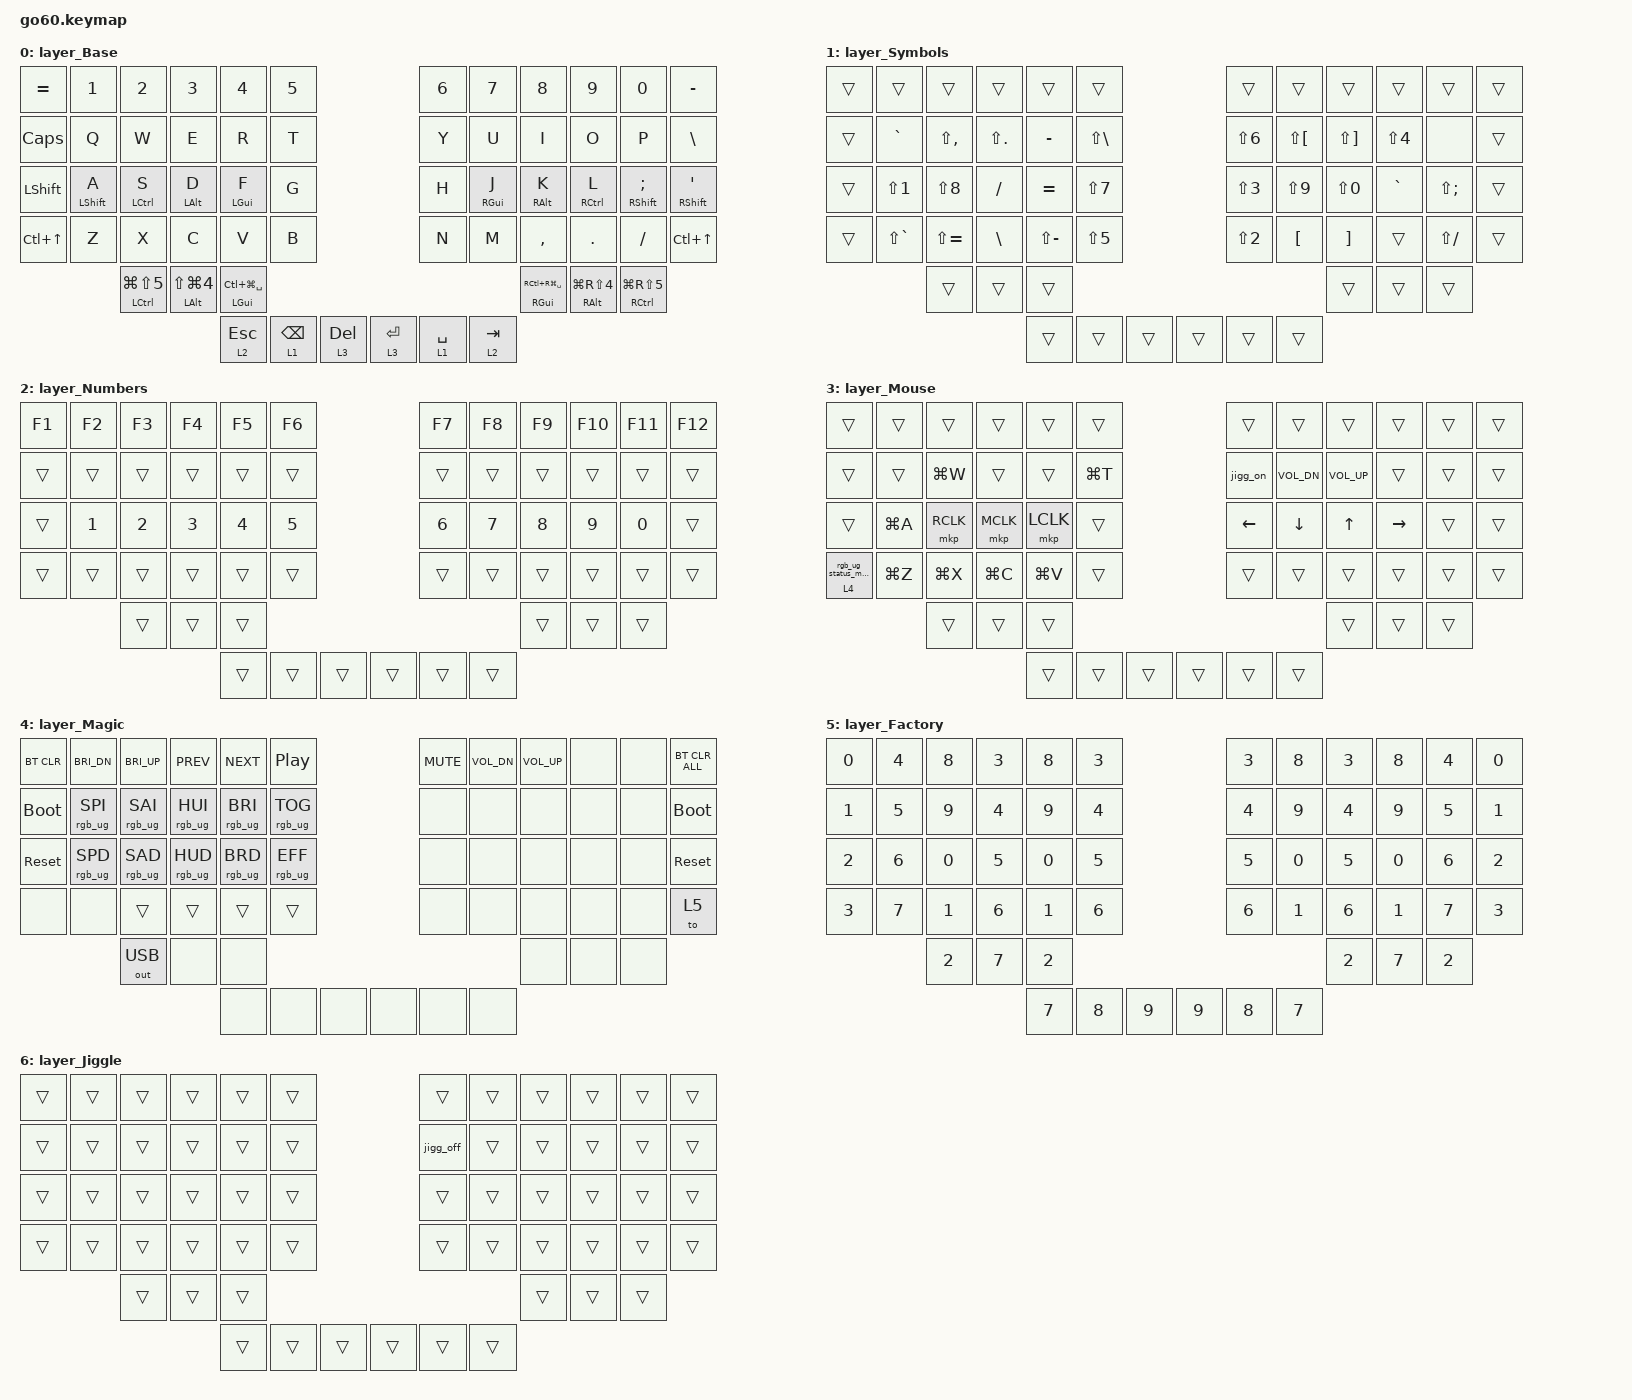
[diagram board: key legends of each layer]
/*
 * Copyright (c) 2021 The ZMK Contributors
 *
 * SPDX-License-Identifier: MIT
 */

#include <dt-bindings/zmk/mouse.h>
#include <behaviors/anti_idle_mode.dtsi>
#include <dt-bindings/anti_idle_mode.h>
#include <behaviors/input_processor_gestures.dtsi>
#include <input/processors.dtsi>
#include <dt-bindings/zmk/input_transform.h>
#include <zephyr/dt-bindings/input/input-event-codes.h>
#include <behaviors.dtsi>
#include <dt-bindings/zmk/bt.h>
#include <dt-bindings/zmk/keys.h>
#include <dt-bindings/zmk/outputs.h>
#include <dt-bindings/zmk/pointing.h>
#include <dt-bindings/zmk/rgb.h>

/ {
    zip_click_to_right_click_mapper: zip_click_to_right_click_mapper {
        compatible = "zmk,input-processor-code-mapper";
        #input-processor-cells = <0>;
        type = <INPUT_EV_KEY>;
        map = <INPUT_BTN_0 INPUT_BTN_1>;
    };

    anti_idle {
        compatible = "zmk,anti-idle-generic";
        /* TEMPORARY TEST: 5 seconds (5000ms). Change back to 60000+ after testing! */
        interval-ms = <5000>;
        bindings = <&jigg_action>;
    };

    macros {
        jigg_action: jigg_action {
            compatible = "zmk,behavior-macro";
            #binding-cells = <0>;
            /* Hold the movement for 200ms so the ZMK polling thread catches it */
            tap-ms = <200>;
            /* Wait 1 full second between movements */
            wait-ms = <1000>;
            /* Sequential actions to wiggle the mouse without breaking ZMK */
            bindings = <&mmv MOVE_Y(50) &mmv MOVE_Y(-50)>;
        };

        jigg_on: jigg_on {
            compatible = "zmk,behavior-macro";
            #binding-cells = <0>;
            wait-ms = <40>;
            tap-ms = <40>;
            bindings = <&aim AIM_ON &rgb_ug RGB_COLOR_HSB(0,100,2) &tog 6>;
        };

        jigg_off: jigg_off {
            compatible = "zmk,behavior-macro";
            #binding-cells = <0>;
            wait-ms = <40>;
            tap-ms = <40>;
            bindings = <&aim AIM_OFF &rgb_ug RGB_COLOR_HSB(0,0,0) &tog 6>;
        };

        rgb_ug_status_macro: rgb_ug_status_macro {
            compatible = "zmk,behavior-macro";
            #binding-cells = <0>;
            bindings = <&rgb_ug RGB_STATUS>;
        };
    };

    behaviors {
        magic: magic {
            compatible = "zmk,behavior-hold-tap";
            label = "MAGIC_HOLD_TAP";
            #binding-cells = <2>;
            flavor = "tap-preferred";
            tapping-term-ms = <200>;
            bindings = <&mo>, <&rgb_ug_status_macro>;
        };

        taptaphold: taptaphold {
            compatible = "zmk,behavior-hold-tap";
            label = "TAPTAPHOLD";
            bindings = <&mo>, <&kp>;

            #binding-cells = <2>;
            tapping-term-ms = <200>;
            flavor = "tap-preferred";
            quick-tap-ms = <200>;
        };

        /* Standard HRM for GUI, ALT, CTRL (Requires a deliberate pause) */
        hrm: home_row_mod {
            compatible = "zmk,behavior-hold-tap";
            label = "HOME_ROW_MOD";
            #binding-cells = <2>;
            flavor = "balanced";
            tapping-term-ms = <280>;
            quick-tap-ms = <175>;
            require-prior-idle-ms = <150>;
            bindings = <&kp>, <&kp>;
        };

        /* Custom HRM strictly for Shift (Allows fast space-to-shift rolling) */
        hrm_shift: home_row_mod_shift {
            compatible = "zmk,behavior-hold-tap";
            label = "HOME_ROW_MOD_SHIFT";
            #binding-cells = <2>;
            flavor = "balanced";
            tapping-term-ms = <200>; 
            quick-tap-ms = <200>;
            /* require-prior-idle-ms completely removed for raw speed */
            bindings = <&kp>, <&kp>;
        };
    };
};

/* --- INPUT TUNING --- */

&zip_gestures {
    inertial-cursor;
    /* Dropped back down to 70 to instantly kill the liftoff snapback momentum */
    inertial-cursor-decay-percent = <70>;
};

&cirque_lh_listener {
    /* 1/30 scale stops the left trackpad from hyperscrolling */

    input-processors =
        <&zip_xy_scaler 1 30>,
        <&zip_xy_transform INPUT_TRANSFORM_Y_INVERT>,
        <&zip_xy_to_scroll_mapper>,
        <&zip_click_to_right_click_mapper>,
        <&zip_gestures>;
};

&cirque_rh_listener {
    input-processors = <&zip_xy_scaler 4 1>, <&zip_gestures>;
};

/* --- KEYMAP --- */

/ {
    keymap {
        compatible = "zmk,keymap";

        layer_Base {
            bindings = <
&kp EQUAL         &kp N1                 &kp N2                 &kp N3                     &kp N4        &kp N5                                                                                                                                           &kp N6  &kp N7         &kp N8         &kp N9         &kp N0                 &kp MINUS
&kp CAPSLOCK      &kp Q                  &kp W                  &kp E                      &kp R         &kp T                                                                                                                                            &kp Y   &kp U          &kp I          &kp O          &kp P                  &kp BSLH
&kp LSHFT         &hrm_shift LSHFT A     &hrm LCTRL S           &hrm LALT D                &hrm LGUI F   &kp G                                                                                                                                            &kp H   &hrm RGUI J    &hrm RALT K    &hrm RCTRL L   &hrm_shift RSHFT SEMI  &hrm_shift RSHFT SQT
&kp LC(UP_ARROW)  &kp Z                  &kp X                  &kp C                      &kp V         &kp B                                                                                                                                            &kp N   &kp M          &kp COMMA      &kp DOT        &kp FSLH               &kp LC(UP)
                                         &hrm LCTRL LG(LS(N5))  &hrm LALT LS(LG(N4))       &hrm LGUI LC(LG(SPACE))                                                                                                                                                &hrm RGUI RC(RG(SPACE))  &hrm RALT LG(RS(NUMBER_4))  &hrm RCTRL LG(RS(NUMBER_5))
                                                                                           &taptaphold 2 ESCAPE  &taptaphold 1 BACKSPACE  &taptaphold 3 DELETE  &taptaphold 3 ENTER  &taptaphold 1 SPACE  &taptaphold 2 TAB
            >;
        };

        layer_Symbols {
            bindings = <
&trans  &trans         &trans         &trans         &trans         &trans                                                                                                      &trans      &trans        &trans        &trans      &trans        &trans
&trans  &kp GRAVE      &kp LS(COMMA)  &kp LS(DOT)    &kp MINUS      &kp LS(BSLH)                                                                                                &kp LS(N6)  &kp LS(LBKT)  &kp LS(RBKT)  &kp LS(N4)  &none         &trans
&trans  &kp LS(N1)     &kp LS(N8)     &kp FSLH       &kp EQUAL      &kp LS(N7)                                                                                                  &kp LS(N3)  &kp LS(N9)    &kp LS(N0)    &kp GRAVE   &kp LS(SEMI)  &trans
&trans  &kp LS(GRAVE)  &kp LS(EQUAL)  &kp BSLH       &kp LS(MINUS)  &kp LS(N5)                                                                                                  &kp LS(N2)  &kp LBKT      &kp RBKT      &trans      &kp LS(FSLH)  &trans
                       &trans         &trans         &trans                                                                                                                                 &trans        &trans        &trans
                                                                    &trans  &trans  &trans  &trans  &trans  &trans
            >;
        };

        layer_Numbers {
            bindings = <
&kp F1  &kp F2  &kp F3  &kp F4  &kp F5  &kp F6                                                                                                      &kp F7  &kp F8  &kp F9  &kp F10  &kp F11  &kp F12
&trans  &trans  &trans  &trans  &trans  &trans                                                                                                      &trans  &trans  &trans  &trans   &trans   &trans
&trans  &kp N1  &kp N2  &kp N3  &kp N4  &kp N5                                                                                                      &kp N6  &kp N7  &kp N8  &kp N9   &kp N0   &trans
&trans  &trans  &trans  &trans  &trans  &trans                                                                                                      &trans  &trans  &trans  &trans   &trans   &trans
                &trans  &trans  &trans                                                                                                                      &trans  &trans  &trans
                                        &trans  &trans  &trans  &trans  &trans  &trans
            >;
        };

        layer_Mouse {
            bindings = <
&trans      &trans     &trans     &trans     &trans     &trans                                                                                                    &trans    &trans        &trans        &trans      &trans  &trans
&trans      &trans     &kp LG(W)  &trans     &trans     &kp LG(T)                                                                                                 &jigg_on  &kp C_VOL_DN  &kp C_VOL_UP  &trans      &trans  &trans
&trans      &kp LG(A)  &mkp RCLK  &mkp MCLK  &mkp LCLK  &trans                                                                                                    &kp LEFT  &kp DOWN      &kp UP        &kp RIGHT   &trans  &trans
&magic 4 0  &kp LG(Z)  &kp LG(X)  &kp LG(C)  &kp LG(V)  &trans                                                                                                    &trans    &trans        &trans        &trans      &trans  &trans
                       &trans     &trans     &trans                                                                                                                         &trans        &trans        &trans
                                                        &trans  &trans  &trans  &trans  &trans  &trans
            >;
        };

        layer_Magic {
            bindings = <
&bt BT_CLR   &kp C_BRI_DN     &kp C_BRI_UP     &kp C_PREV       &kp C_NEXT       &kp C_PP                                                                                                       &kp C_MUTE  &kp C_VOL_DN  &kp C_VOL_UP  &none  &none  &bt BT_CLR_ALL
&bootloader  &rgb_ug RGB_SPI  &rgb_ug RGB_SAI  &rgb_ug RGB_HUI  &rgb_ug RGB_BRI  &rgb_ug RGB_TOG                                                                                                &none       &none         &none         &none  &none  &bootloader
&sys_reset   &rgb_ug RGB_SPD  &rgb_ug RGB_SAD  &rgb_ug RGB_HUD  &rgb_ug RGB_BRD  &rgb_ug RGB_EFF                                                                                                &none       &none         &none         &none  &none  &sys_reset
&none        &none            &trans           &trans           &trans           &trans                                                                                                         &none       &none         &none         &none  &none  &to 5
                              &out OUT_USB     &none            &none                                                                                                                                       &none         &none         &none
                                                                                 &none  &none  &none  &none  &none  &none
            >;
        };

        layer_Factory {
            bindings = <
&kp N0  &kp N4  &kp N8  &kp N3  &kp N8  &kp N3                                                                                                      &kp N3  &kp N8  &kp N3  &kp N8  &kp N4  &kp N0
&kp N1  &kp N5  &kp N9  &kp N4  &kp N9  &kp N4                                                                                                      &kp N4  &kp N9  &kp N4  &kp N9  &kp N5  &kp N1
&kp N2  &kp N6  &kp N0  &kp N5  &kp N0  &kp N5                                                                                                      &kp N5  &kp N0  &kp N5  &kp N0  &kp N6  &kp N2
&kp N3  &kp N7  &kp N1  &kp N6  &kp N1  &kp N6                                                                                                      &kp N6  &kp N1  &kp N6  &kp N1  &kp N7  &kp N3
                &kp N2  &kp N7  &kp N2                                                                                                                      &kp N2  &kp N7  &kp N2
                                        &kp N7  &kp N8  &kp N9  &kp N9  &kp N8  &kp N7
            >;
        };

        layer_Jiggle {
            bindings = <
&trans  &trans  &trans  &trans  &trans  &trans                                                                                                      &trans     &trans  &trans  &trans  &trans  &trans
&trans  &trans  &trans  &trans  &trans  &trans                                                                                                      &jigg_off  &trans  &trans  &trans  &trans  &trans
&trans  &trans  &trans  &trans  &trans  &trans                                                                                                      &trans     &trans  &trans  &trans  &trans  &trans
&trans  &trans  &trans  &trans  &trans  &trans                                                                                                      &trans     &trans  &trans  &trans  &trans  &trans
                &trans  &trans  &trans                                                                                                                         &trans  &trans  &trans
                                        &trans  &trans  &trans  &trans  &trans  &trans
            >;
        };
    };
};
